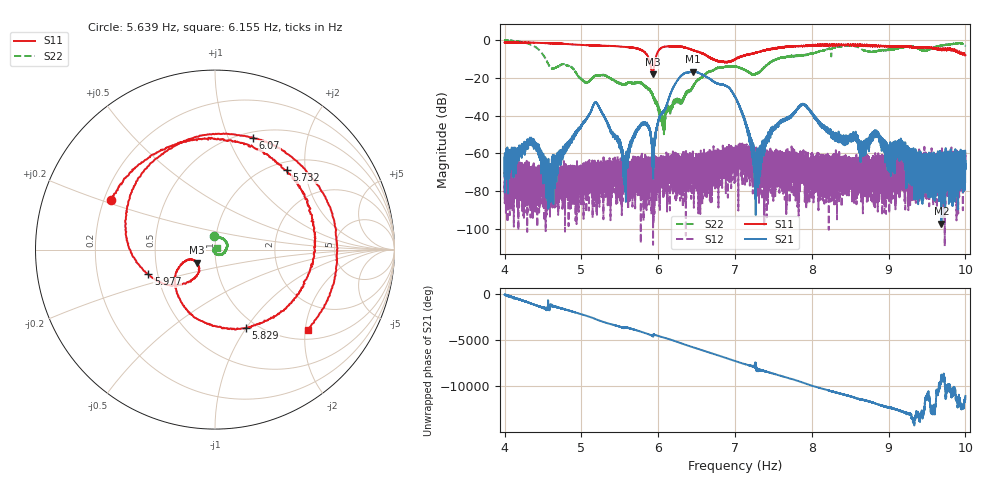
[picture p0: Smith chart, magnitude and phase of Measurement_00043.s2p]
!Created with skrf (http://scikit-rf.org).
# Hz S RI R 50.0
!freq ReS11 ImS11 ReS21 ImS21 ReS12 ImS12 ReS22 ImS22
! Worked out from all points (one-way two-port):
!   14001 points, 4 Hz to 10 Hz, reference 50 ohm
!   highest |S21| = -16.70 dB at 6.449 Hz (marker M1); lowest = -97.5 dB at 9.687 Hz (marker M2)
!   lowest |S11| = -18.2 dB at 5.927 Hz (marker M3), VSWR 1.28, Z = 40.5 - j6.01 ohm
!   |S11| at or under -10 dB: 5.879 Hz to 5.963 Hz (84.02 mHz wide, 1.42 % of centre); 6.71 Hz to 7.003 Hz (293.5 mHz wide, 4.28 % of centre); 7.004524 Hz to 7.008158 Hz (3.634 mHz wide, 0.0519 % of centre) (the widest 3 of 6)
!   |S22| runs from -49.9 to -0.2 dB; largest |S21 - S12| = 0.15
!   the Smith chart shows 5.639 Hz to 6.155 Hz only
!   S11 on the Smith chart (normalised r, x): 5.639 Hz: 0.23, +0.21; 5.732 Hz: 1.15, +1.59; 5.829 Hz: 0.89, -1.00; 5.977 Hz: 0.44, -0.15; 6.07 Hz: 0.56, +1.24; 6.155 Hz: 1.24, -2.08
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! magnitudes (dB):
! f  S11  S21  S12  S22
! 4 Hz  -1.2  -62.3  -77.1  -0.2
! 4.358 Hz  -1.4  -53.0  -95.1  -2.7
! 4.581 Hz  -1.7  -69.8  -72.2  -13.6
! 5 Hz  -2.6  -45.3  -70.8  -20.8
! 5.192 Hz  -2.9  -33.1  -77.3  -18.9
! 5.57 Hz  -3.6  -69.3  -70.4  -23.6
! 5.639 Hz  -3.9  -56.8  -72.9  -22.7
! 5.732 Hz  -4.5  -47.4  -64.3  -22.6
! 5.829 Hz  -6.6  -43.7  -69.3  -24.5
! 5.927 Hz  -18.2  -62.9  -65.2  -29.1
! 5.977 Hz  -8.0  -47.8  -81.9  -33.3
! 6 Hz  -5.9  -43.3  -62.1  -34.7
! 6.07 Hz  -3.6  -37.8  -71.6  -41.7
! 6.155 Hz  -3.3  -29.0  -63.7  -36.5
! 6.449 Hz  -5.3  -16.7  -69.7  -25.0
! 7 Hz  -10.2  -30.2  -60.4  -14.0
! 7.278 Hz  -6.6  -63.3  -73.0  -18.0
! 7.583 Hz  -4.1  -43.8  -62.5  -9.5
! 8 Hz  -3.0  -38.4  -67.7  -6.9
! 9 Hz  -3.4  -59.3  -69.2  -5.1
! 9.687 Hz  -5.0  -97.5  -68.2  -2.9
! 10 Hz  -7.9  -66.1  -64.0  -3.1
